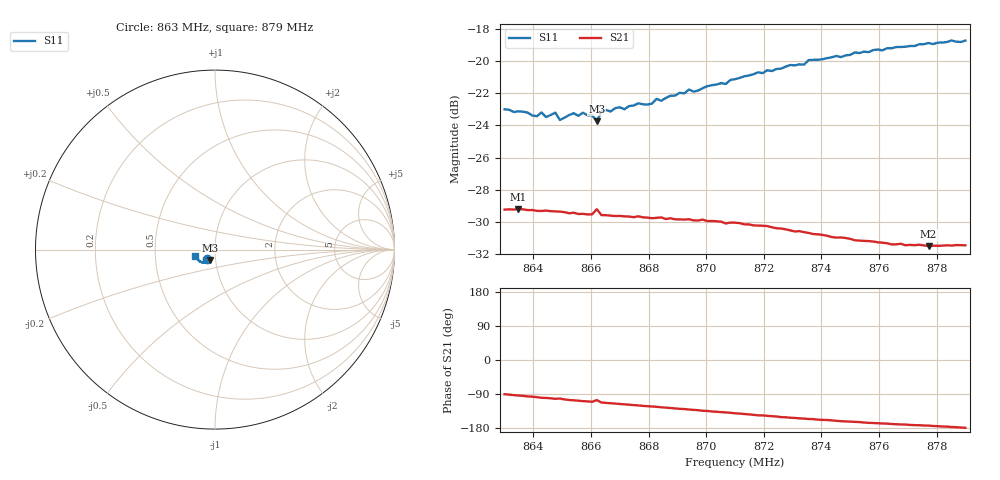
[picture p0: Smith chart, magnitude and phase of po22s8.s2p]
# HZ S RI R 50
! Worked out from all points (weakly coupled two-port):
!   101 points, 863 MHz to 879 MHz, reference 50 ohm
!   highest |S21| = -29.19 dB at 863.48 MHz (marker M1); lowest = -31.5 dB at 877.72 MHz (marker M2)
!   lowest |S11| = -23.8 dB at 866.2 MHz (marker M3), VSWR 1.14, Z = 46.9 - j5.5 ohm
!   |S11| at or under -10 dB: start of sweep to end of sweep
!   S12 and S22 are empty: the file has one direction only
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8.63e8  -0.0473 -0.0526  -0.000157 -0.0346  0 0  0 0
8.6348e8  -0.0433 -0.0546  -0.00227 -0.0346  0 0  0 0
8.6412e8  -0.0396 -0.0545  -0.00478 -0.0339  0 0  0 0
8.6428e8  -0.0397 -0.0566  -0.00582 -0.0337  0 0  0 0
8.6444e8  -0.0389 -0.0544  -0.00603 -0.0338  0 0  0 0
8.6476e8  -0.0389 -0.057  -0.0074 -0.0333  0 0  0 0
8.6492e8  -0.0344 -0.0558  -0.00686 -0.0334  0 0  0 0
8.6572e8  -0.0366 -0.0585  -0.0106 -0.0318  0 0  0 0
8.6604e8  -0.0352 -0.058  -0.0116 -0.0313  0 0  0 0
8.662e8  -0.0283 -0.0584  -0.00942 -0.0334  0 0  0 0
8.6636e8  -0.0363 -0.0593  -0.0125 -0.0308  0 0  0 0
8.6652e8  -0.0358 -0.0606  -0.013 -0.0305  0 0  0 0
8.6796e8  -0.0366 -0.0633  -0.0172 -0.0277  0 0  0 0
8.6828e8  -0.0385 -0.0657  -0.018 -0.0272  0 0  0 0
8.6844e8  -0.0373 -0.0653  -0.0187 -0.0268  0 0  0 0
8.694e8  -0.0423 -0.0696  -0.021 -0.0245  0 0  0 0
8.6956e8  -0.042 -0.0683  -0.0212 -0.0239  0 0  0 0
8.71e8  -0.0497 -0.0722  -0.0243 -0.02  0 0  0 0
8.7372e8  -0.0694 -0.073  -0.0265 -0.0118  0 0  0 0
8.7644e8  -0.0911 -0.0605  -0.0264 -0.0052  0 0  0 0
8.7772e8  -0.1018 -0.0504  -0.0264 -0.00318  0 0  0 0
8.79e8  -0.1091 -0.038  -0.0268 -0.000474  0 0  0 0
